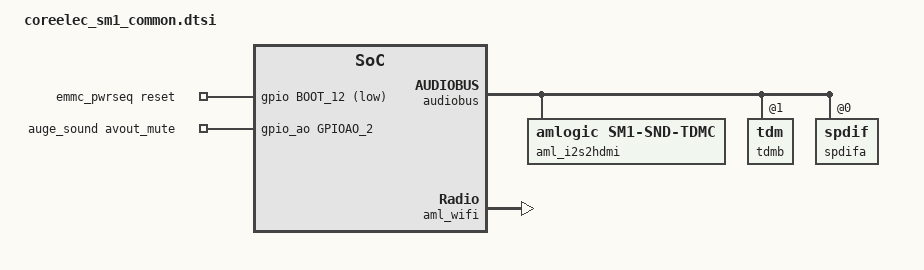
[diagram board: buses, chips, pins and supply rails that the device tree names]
#include "coreelec_common.dtsi"

/ {
	compatible = "amlogic, g12a";

	/delete-node/ ir@0xff808040;
	/delete-node/ optee;

	amhdmitx: amhdmitx{
		hdmitx-gpios-hpd = <&gpio GPIOH_2 0>;
		hdmitx-gpios-scl = <&gpio GPIOH_1 0>;
		hdmitx-gpios-sda = <&gpio GPIOH_0 0>;
		vend_data: vend_data{ /* Should modified by Customer */
			product_desc = "SM1"; /* Max Chars: 16 */
		};
	};

	reserved-memory {
		di_cma_reserved:linux,di_cma {
			status = "disabled";
		};

		codec_mm_cma:linux,codec_mm_cma {
			size = <0x0 0x1b000000>;
		};

		vdin1_cma_reserved:linux,vdin1_cma {
			status = "disabled";
		};
	};

	secmon {
		clear_range = <0x05100000 0x02a00000>;
	};

	bl30_manager {
		mboxes = <&mbox_pl0 SM1_REE2AO_DEV>;
	};

	mbox_devfs {
		status = "disabled";
	};

	gpioleds {
		/delete-node/ net_red;
		/delete-node/ net_green;
		/delete-node/ remote_led;
	};

	multi-di {
		compatible = "amlogic, dim-sm1";
		status = "okay";
		/* 0:use reserved; 1:use cma; 2:use cma as reserved */
		flag_cma = <4>;	//<1>;
		//memory-region = <&di_reserved>;
		memory-region = <&di_cma_reserved>;
		interrupts = <0 46 1
				0 40 1>;
		interrupt-names = "pre_irq", "aisr_irq";
		clocks = <&clkc CLKID_VPU_CLKB_TMP>,
			<&clkc CLKID_VPU_CLKB>;
		clock-names = "vpu_clkb",
			"vpu_mux";
		clock-range = <334 667>;
		/* buffer-size = <3621952>;(yuv422 8bit) */
		buffer-size = <4074560>;/*yuv422 fullpack*/
		/* reserve-iomap = "true"; */
		/* if enable nr10bit, set nr10bit-support to 1 */
		post-wr-support = <1>;
		nr10bit-support = <1>;
		nrds-enable = <1>;
		pps-enable = <1>;
	};

	meson-ir {
		reg = <0x0 0xff808040 0x00 0x44>, /*Multi-format IR controller*/
			<0x0 0xff808000 0x00 0x20>; /*Legacy IR controller*/
		interrupts = <GIC_SPI 196 IRQ_TYPE_EDGE_RISING>;
	};

	meson-remote {
		reg = <0x0 0xff808040 0x00 0x44>, /*Multi-format IR controller*/
			<0x0 0xff808000 0x00 0x20>; /*Legacy IR controller*/
		interrupts = <GIC_SPI 196 IRQ_TYPE_EDGE_RISING>;
	};

	gpu:bifrost {
		compatible = "arm,mali-bifrost";
	};

	emmc_pwrseq: emmc-pwrseq {
		compatible = "mmc-pwrseq-emmc";
		reset-gpios = <&gpio BOOT_12 GPIO_ACTIVE_LOW>;
	};

	/delete-node/ auge_sound;
	auge_sound {
		compatible = "amlogic, auge-sound-card";
		aml-audio-card,name = "AML-AUGESOUND";

		/*avout mute gpio*/
		avout_mute-gpios = <&gpio_ao GPIOAO_2 GPIO_ACTIVE_HIGH>;

		aml-audio-card,dai-link@0 {
			mclk-fs = <128>;
			continuous-clock;
			cpu {
				system-clock-frequency = <6144000>;
				sound-dai = <&spdifb>;
			};
			codec {
				sound-dai = <&dummy_codec>;
			};
		};

		aml-audio-card,dai-link@1 {
			format = "i2s";
			mclk-fs = <256>;
			bitclock-master = <&tdmb>;
			frame-master = <&tdmb>;
			continuous-clock;
			cpu {
				dai-tdm-slot-tx-mask = <1 1>;
				dai-tdm-slot-rx-mask = <1 1>;
				dai-tdm-slot-num = <2>;
				dai-tdm-slot-width = <32>;
				system-clock-frequency = <12288000>;
				sound-dai = <&tdmb>;
			};
			codec {
				sound-dai = <&amlogic_codec>;
			};
		};

		aml-audio-card,dai-link@2 {
			mclk-fs = <128>;
			continuous-clock;
			cpu {
				system-clock-frequency = <6144000>;
				sound-dai = <&spdifa>;
			};
			codec {
				sound-dai = <&dummy_codec>;
			};
		};

		aml-audio-card,dai-link@3 {
			format = "i2s";
			mclk-fs = <256>;
			bitclock-master = <&aml_i2s2hdmi>;
			frame-master = <&aml_i2s2hdmi>;
			continuous-clock;
			cpu {
				sound-dai = <&aml_i2s2hdmi>;
				dai-tdm-slot-tx-mask = <1 1>;
				dai-tdm-slot-rx-mask = <1 1>;
				dai-tdm-slot-num = <2>;
				dai-tdm-slot-width = <32>;
				system-clock-frequency = <12288000>;
			};
			codec {
				sound-dai = <&dummy_codec>;
			};
		};
	};

	soc {
		periphs: periphs@ff634400 {
			status = "okay";
		};

		demux: demux {
			compatible = "amlogic, dmx";
			status = "disabled";

			interrupts = <GIC_SPI 23 IRQ_TYPE_EDGE_RISING
				GIC_SPI 5 IRQ_TYPE_EDGE_RISING
				GIC_SPI 21 IRQ_TYPE_EDGE_RISING
				GIC_SPI 19 IRQ_TYPE_EDGE_RISING
				GIC_SPI 25 IRQ_TYPE_EDGE_RISING>;
			interrupt-names = "demux0_irq",
				"demux1_irq",
				"demux2_irq",
				"dvr0_irq",
				"dvr1_irq";
		};
	};

	dvb-demux {
		compatible = "amlogic, dvb-demux";
		dev_name = "dvb-demux";
		status = "disabled";
		dmx =<&demux>;

		ts1 = "parallel";
		ts1_control = <0x00>;
		ts1_invert = <0x00>;
		pinctrl-names = "p_ts1";
		pinctrl-0 = <&dvb_p_ts1_pins>;
	};
};

&CPU0 {
	/delete-property/ cpu-idle-states;
};

&CPU1 {
	reg = <0x0 0x1>;
	/delete-property/ cpu-idle-states;
};

&CPU2 {
	reg = <0x0 0x2>;
	/delete-property/ cpu-idle-states;
};

&CPU3 {
	reg = <0x0 0x3>;
	/delete-property/ cpu-idle-states;
};

&sd_emmc_a {
	/delete-property/ cap-sd-highspeed;
	/delete-property/ sd-uhs-sdr104;
};

&sd_emmc_b {
	cap-mmc-highspeed;
	max-frequency = <50000000>;
};

&sd_emmc_c {
	mmc-pwrseq = <&emmc_pwrseq>;
};

&audiobus {
	/delete-node/ tdmc;
	/delete-node/ tdm@2;

	aml_i2s2hdmi: i2s2hdmi {
		compatible = "amlogic, sm1-snd-tdmc";
		clocks = <&clkaudio CLKID_AUDIO_MCLK_C
				 &clkc CLKID_MPLL2>;
		clock-names = "mclk", "clk_srcpll";
	};

	tdmb: tdm@1 {
		/delete-property/ start_clk_enable;
		/delete-property/ clk_tuning_enable;
	};

	spdifa: spdif@0 {
		/delete-property/ clk_tuning_enable;
	};
};

&aml_wifi {
	wifi_static_buf = <1>;
};

&i2c0 {
	status = "disabled";
};

&i2c3 {
	status = "disabled";
	/delete-node/ aw9523_led@5b;
	/delete-node/ ad82584f_62@31;
};

&dwc2_a {
	controller-type = <3>;
};

&earc {
	status = "disabled";
};

&pinctrl_aobus {
	/delete-node/ spdifout;

	dvb_s_ts0_pins {
		tsin_a {
			groups = "tsin_ao_asop",
				"tsin_ao_a_valid",
				"tsin_ao_aclk",
				"tsin_ao_adin0";
			function = "tsin_ao_a";
		};
	};
};

&pinctrl_periphs {
	spdifout: spdifout {
		mux { /* GPIOH_4 */
			groups = "spdif_out_h";
			function = "spdif_out";
		};
	};

	dvb_p_ts1_pins: dvb_p_ts1_pins {
		tsin_b {
			groups = "tsin_b_sop_z",
			"tsin_b_valid_z",
			"tsin_b_clk_z",
			"tsin_b_din0_z",
			"tsin_b_din1",
			"tsin_b_din2",
			"tsin_b_din3",
			"tsin_b_din4",
			"tsin_b_din5",
			"tsin_b_din6",
			"tsin_b_din7";
			function = "tsin_b";
		};
	};
};
